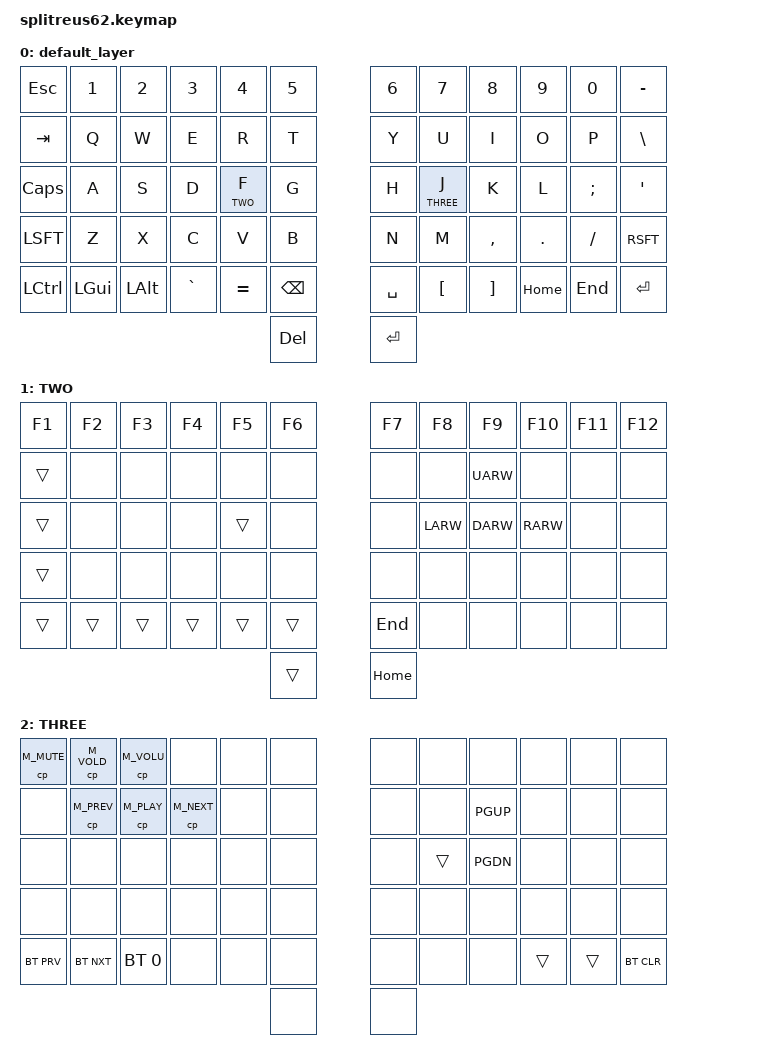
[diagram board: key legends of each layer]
/*
 * Copyright (c) 2020 Derek Schmell
 *
 * SPDX-License-Identifier: MIT
 */

#include <behaviors.dtsi>
#include <dt-bindings/zmk/keys.h>
#include <dt-bindings/zmk/bt.h>
#define TWO 1
#define THREE 2


/ {
	behaviors {
		hm: behavior_lt_mo {
			compatible = "zmk,behavior-hold-tap";
			label = "lt_label";
			#binding-cells = <2>;
			tapping_term_ms = <205>;
			bindings = <&mo>, <&kp>;
			flavor = "tap-preferred";
		};
    };


	keymap {
		compatible = "zmk,keymap";

		default_layer {
// ------------------------------------------------------------------------------------------------------------
// |  ESC  |  1  |  2  |  3   |  4   |  5   |                   |  6   |  7    |  8    |  9   |   0   |   -   |
// |  TAB  |  Q  |  W  |  E   |  R   |  T   |                   |  Y   |  U    |  I    |  O   |   P   |   \   |
// |  CTRL |  A  |  S  |  D   |  F   |  G   |                   |  H   |  J    |  K    |  L   |   ;   |   '   |
// | SHIFT |  Z  |  X  |  C   |  V   |  B   |                   |  N   |  M    |  ,    |  .   |   /   | SHIFT |
// | LCTL  | LGUI  | LALT |  GRAV |  | EQL | DEL | BKSP|  | RET | SPC  | LBKT |  RBKT  | HOME | END  |   RET |
			bindings = <
&kp ESC  &kp NUM_1 &kp NUM_2 &kp NUM_3 &kp NUM_4 &kp NUM_5                    &kp NUM_6 &kp NUM_7      &kp NUM_8 &kp NUM_9 &kp NUM_0 &kp MINUS
&kp TAB  &kp Q     &kp W     &kp E     &kp R     &kp T                        &kp Y     &kp U          &kp I     &kp O     &kp P     &kp BSLH
&kp CLCK &kp A     &kp S     &kp D     &hm TWO F &kp G                        &kp H     &hm THREE J    &kp K     &kp L     &kp SCLN  &kp QUOT
&kp LSFT &kp Z     &kp X     &kp C     &kp V     &kp B                        &kp N     &kp M     &kp CMMA  &kp DOT   &kp FSLH  &kp RSFT
&kp LCTL &kp LGUI  &kp LALT &kp GRAV   &kp EQL  &kp BKSP                      &kp SPC   &kp LBKT  &kp RBKT  &kp HOME  &kp END   &kp RET
                                                       &kp DEL            &kp RET
			>;
		};

		TWO {
// ---------------------------------------------------------------------------------------------------------
// |  F1  |  F2  |  F3  |  F4   |  F5   |  F6   |                     |  F7   |  F8    |  F9   |  F10  |  F11  |  F12  |
// |  NA  |  NA  |  NA  |  NA   |  NA   |  NA   |                     |  NA   |  NA    |  UP   |  NA   |  NA   |  NA   |
// |TRANS |  NA  |  NA  |  NA   |  NA   |  NA   |                     |  NA   |  Left  |  Down | Right |  NA   |  NA   |
// |TRANS |  NA  |  NA  |  NA   |  NA   |  NA   |                     |  NA   |  NA    |  NA   |  NA   |  NA   | NA    |
// |TRANS |TRANS | TRANS|  TRANS |  | TRANS| TRANS| TRANS|     | TRANS| TRANS |  TRANS | TRANS | TRANS | TRANS | TRANS |
			bindings = <
&kp F1  &kp F2 &kp F3 &kp F4 &kp F5 &kp F6                            &kp F7     &kp F8       &kp F9       &kp F10   &kp F11  &kp F12
&trans  &none    &none    &none    &none      &none                   &none      &none        &kp UARW     &none     &none    &none
&trans &none     &none     &none     &trans   &none                   &none      &kp LARW     &kp DARW     &kp RARW  &none    &none
&trans &none     &none     &none     &none    &none                   &none      &none        &none        &none     &none    &none
&trans &trans    &trans    &trans    &trans   &trans                  &kp END    &none        &none        &none     &none    &none
                                                  &trans          &kp HOME
			>;
		};

		THREE {
// ---------------------------------------------------------------------------------------------------------
// | Mute |  VUD |  VUP |  NA   |  NA   |  NA   |                     |  NA   |  NA    |  UP   |  NA   |  NA   |  NA   |
// |  NA  |  Prev  |  Play  |  Next   |  NA   |  NA   |                     |  NA   |  NA    |  UP   |  NA   |  NA   |  NA   |
// |TRANS |  NA  |  NA  |  NA   |  NA   |  NA   |                     |  NA   |  Left  |  Down | Right |  NA   |  NA   |
// |TRANS |  NA  |  NA  |  NA   |  NA   |  NA   |                     |  NA   |  NA    |  NA   |  NA   |  NA   | NA    |
// | Prof Prev  | Prof Next  | Prof Sel 0 |  GRAV |  | EQL | DEL | BKSP|  | RET | SPC  | LBKT |  RBKT  | LBKT | HOME  |   Clear conneciton bond |
			bindings = <
&cp M_MUTE   &cp M_VOLD    &cp M_VOLU   &none        &none    &none                        &none   &none  &none     &none   &none   &none
&none        &cp M_PREV    &cp M_PLAY   &cp M_NEXT   &none    &none                        &none   &none  &kp PGUP  &none   &none   &none
&none        &none         &none        &none        &none    &none                        &none   &trans &kp PGDN  &none   &none   &none
&none        &none         &none        &none        &none    &none                        &none   &none  &none     &none   &none   &none
&bt BT_PRV   &bt BT_NXT    &bt BT_SEL 0 &none        &none    &none                        &none   &none  &none     &trans  &trans  &bt BT_CLR
                                                                    &none            &none
			>;
		};
	
	};
};
